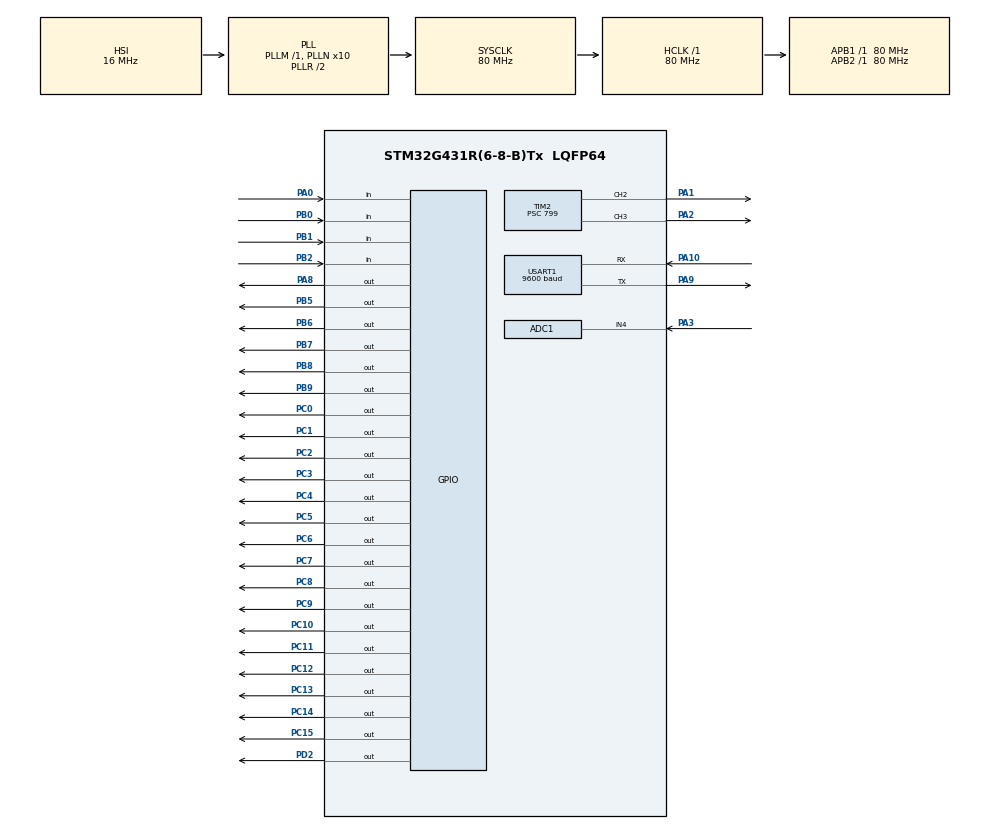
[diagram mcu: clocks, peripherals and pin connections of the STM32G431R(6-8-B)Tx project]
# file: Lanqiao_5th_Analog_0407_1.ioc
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ADC1.Channel-0\#ChannelRegularConversion=ADC_CHANNEL_4
ADC1.ClockPrescaler=ADC_CLOCK_ASYNC_DIV8
ADC1.ContinuousConvMode=DISABLE
ADC1.DMAContinuousRequests=ENABLE
ADC1.ExternalTrigConv=ADC_EXTERNALTRIG_T7_TRGO
ADC1.NbrOfConversion=1
ADC1.NbrOfConversionFlag=1
ADC1.OffsetNumber-0\#ChannelRegularConversion=ADC_OFFSET_NONE
ADC1.Rank-0\#ChannelRegularConversion=1
ADC1.SamplingTime-0\#ChannelRegularConversion=ADC_SAMPLETIME_2CYCLES_5
ADC1.master=1
Dma.ADC1.1.Direction=DMA_PERIPH_TO_MEMORY
Dma.ADC1.1.EventEnable=DISABLE
Dma.ADC1.1.Instance=DMA1_Channel2
Dma.ADC1.1.MemDataAlignment=DMA_MDATAALIGN_WORD
Dma.ADC1.1.MemInc=DMA_MINC_ENABLE
Dma.ADC1.1.Mode=DMA_CIRCULAR
Dma.ADC1.1.PeriphDataAlignment=DMA_PDATAALIGN_WORD
Dma.ADC1.1.PeriphInc=DMA_PINC_DISABLE
Dma.ADC1.1.Polarity=HAL_DMAMUX_REQ_GEN_RISING
Dma.ADC1.1.Priority=DMA_PRIORITY_LOW
Dma.ADC1.1.RequestNumber=1
Dma.ADC1.1.SignalID=NONE
Dma.ADC1.1.SyncEnable=DISABLE
Dma.ADC1.1.SyncPolarity=HAL_DMAMUX_SYNC_NO_EVENT
Dma.ADC1.1.SyncRequestNumber=1
Dma.ADC1.1.SyncSignalID=NONE
Dma.Request0=USART1_RX
Dma.Request1=ADC1
Dma.USART1_RX.0.Direction=DMA_PERIPH_TO_MEMORY
Dma.USART1_RX.0.EventEnable=DISABLE
Dma.USART1_RX.0.Instance=DMA1_Channel1
Dma.USART1_RX.0.MemDataAlignment=DMA_MDATAALIGN_BYTE
Dma.USART1_RX.0.MemInc=DMA_MINC_ENABLE
Dma.USART1_RX.0.Mode=DMA_CIRCULAR
Dma.USART1_RX.0.PeriphDataAlignment=DMA_PDATAALIGN_BYTE
Dma.USART1_RX.0.PeriphInc=DMA_PINC_DISABLE
Dma.USART1_RX.0.Polarity=HAL_DMAMUX_REQ_GEN_RISING
Dma.USART1_RX.0.Priority=DMA_PRIORITY_LOW
Dma.USART1_RX.0.RequestNumber=1
Dma.USART1_RX.0.SignalID=NONE
Dma.USART1_RX.0.SyncEnable=DISABLE
Dma.USART1_RX.0.SyncPolarity=HAL_DMAMUX_SYNC_NO_EVENT
Dma.USART1_RX.0.SyncRequestNumber=1
Dma.USART1_RX.0.SyncSignalID=NONE
Mcu.Family=STM32G4
Mcu.Name=STM32G431R(6-8-B)Tx
Mcu.Package=LQFP64
NVIC.ADC1_2_IRQn=true\:6\:0\:true\:false\:true\:true\:true
NVIC.DMA1_Channel1_IRQn=true\:0\:0\:false\:false\:true\:false\:true
NVIC.DMA1_Channel2_IRQn=true\:0\:0\:false\:false\:true\:false\:true
NVIC.PriorityGroup=NVIC_PRIORITYGROUP_4
NVIC.RTC_Alarm_IRQn=true\:2\:0\:true\:false\:true\:true\:true
NVIC.USART1_IRQn=true\:3\:0\:true\:false\:true\:true\:true
PA0.Signal=GPIO_Input
PA1.Signal=S_TIM2_CH2
PA10.Mode=Asynchronous
PA10.Signal=USART1_RX
PA2.Signal=S_TIM2_CH3
PA3.Mode=IN4-Single-Ended
PA3.Signal=ADC1_IN4
PA8.Signal=GPIO_Output
PA9.Mode=Asynchronous
PA9.Signal=USART1_TX
PB0.Signal=GPIO_Input
PB1.Signal=GPIO_Input
PB2.Signal=GPIO_Input
PB5.Signal=GPIO_Output
PB6.Signal=GPIO_Output
PB7.Signal=GPIO_Output
PB8-BOOT0.Signal=GPIO_Output
PB9.Signal=GPIO_Output
PC0.Signal=GPIO_Output
PC1.Signal=GPIO_Output
PC10.Signal=GPIO_Output
PC11.Signal=GPIO_Output
PC12.Signal=GPIO_Output
PC13.Signal=GPIO_Output
PC14-OSC32_IN.Signal=GPIO_Output
PC15-OSC32_OUT.Signal=GPIO_Output
PC2.Signal=GPIO_Output
PC3.Signal=GPIO_Output
PC4.Signal=GPIO_Output
PC5.Signal=GPIO_Output
PC6.Signal=GPIO_Output
PC7.Signal=GPIO_Output
PC8.Signal=GPIO_Output
PC9.Signal=GPIO_Output
PD2.Signal=GPIO_Output
ProjectManager.HeapSize=0x200
ProjectManager.StackSize=0x400
ProjectManager.TargetToolchain=MDK-ARM V5
RCC.ADC12Freq_Value=80000000
RCC.AHBFreq_Value=80000000
RCC.APB1Freq_Value=80000000
RCC.APB1TimFreq_Value=80000000
RCC.APB2Freq_Value=80000000
RCC.APB2TimFreq_Value=80000000
RCC.CortexFreq_Value=80000000
RCC.EXTERNAL_CLOCK_VALUE=12288000
RCC.HCLKFreq_Value=80000000
RCC.HSE_VALUE=8000000
RCC.HSI48_VALUE=48000000
RCC.HSI_VALUE=16000000
RCC.LSE_VALUE=32768
RCC.PLLN=10
RCC.SYSCLKFreq_VALUE=80000000
RCC.SYSCLKSource=RCC_SYSCLKSOURCE_PLLCLK
RCC.USBFreq_Value=80000000
RCC.VCOOutputFreq_Value=160000000
RTC.Alarm-Alarm\ A=RTC_ALARM_A
RTC.Alarm_B-Alarm\ B=RTC_ALARM_B
RTC.Format=RTC_FORMAT_BIN
RTC.Hours=23
RTC.Minutes=59
RTC.Seconds=50
RTC.SynchPrediv=249
SH.S_TIM2_CH2.0=TIM2_CH2,PWM Generation2 CH2
SH.S_TIM2_CH3.0=TIM2_CH3,PWM Generation3 CH3
TIM2.Channel-PWM\ Generation2\ CH2=TIM_CHANNEL_2
TIM2.Channel-PWM\ Generation3\ CH3=TIM_CHANNEL_3
TIM2.PeriodNoDither=99
TIM2.Prescaler=799
TIM7.PeriodNoDither=99
TIM7.Prescaler=399
TIM7.TIM_MasterOutputTrigger=TIM_TRGO_UPDATE
USART1.BaudRate=9600
USART1.VirtualMode-Asynchronous=VM_ASYNC
VP_RTC_VS_RTC_Activate.Mode=RTC_Enabled
VP_RTC_VS_RTC_Alarm_A_Intern.Mode=Alarm A
VP_RTC_VS_RTC_Alarm_B_Intern.Mode=Alarm B
VP_RTC_VS_RTC_Calendar.Mode=RTC_Calendar
VP_SYS_VS_DBSignals.Mode=DisableDeadBatterySignals
VP_TIM7_VS_ClockSourceINT.Mode=Enable_Timer
board=custom

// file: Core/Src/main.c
/* USER CODE BEGIN Header */
/**
  ******************************************************************************
  * @file           : main.c
  * @brief          : Main program body
  ******************************************************************************
  * @attention
  *
  * <h2><center>&copy; Copyright (c) 2021 STMicroelectronics.
  * All rights reserved.</center></h2>
  *
  * This software component is licensed by ST under BSD 3-Clause license,
  * the "License"; You may not use this file except in compliance with the
  * License. You may obtain a copy of the License at:
  *                        opensource.org/licenses/BSD-3-Clause
  *
  ******************************************************************************
  */
/* USER CODE END Header */
#include "main.h"
#include "adc.h"
#include "dma.h"
#include "rtc.h"
#include "tim.h"
#include "usart.h"
#include "gpio.h"

/* USER CODE BEGIN Includes */
#include "stdio.h"
#include "lcd.h"
#include "string.h"
#include "i2c.h"
/* USER CODE END Includes */

/* USER CODE BEGIN PD */
RTC_TimeTypeDef rtc_time,previousTime,orderTime;
RTC_DateTypeDef rtc_date;
int adc_flag;
/* USER CODE END PD */

/* USER CODE BEGIN PM */
#define print(X) HAL_UART_Transmit(&huart1,(uint8_t *)X,strlen(X),1000);
void x24c02_write(u8 address,u8 data)
{
	I2CStart();
	I2CSendByte(0xa0);
	I2CWaitAck();
	I2CSendByte(address);
	I2CWaitAck();
	I2CSendByte(data);
	I2CWaitAck();
	I2CStop();
}
u8 x24c02_read(u8 address)
{
	I2CStart();
	I2CSendByte(0xa0);
	I2CWaitAck();
	I2CSendByte(address);
	I2CWaitAck();
	I2CStart();
	I2CSendByte(0xa1);
	I2CWaitAck();
	u8 val=I2CReceiveByte();
	I2CStop();
	return val;
}
/* USER CODE END PM */

/* USER CODE BEGIN PV */
char orders[30];
char showPA1[22],showPA2[22],showTime[22],showChan[22],showCom[22],order[30],ttry[30];
uint8_t compare1=80,compare2=80,pa1State=1,pa2State=1,rxbuff,point,orderOut;// 1->PWM,0->lo/w
// orderOut表示当前输出的通道（1或2）,若为0，则表示没有命令。
uint8_t isHigh,continueTime; // 表示命令是否要求当前通道输出PWM波
uint32_t adc_value;

  char s[30];
/* USER CODE END PV */

void SystemClock_Config(void);
/* USER CODE BEGIN PFP */
void keyscan()
{
	if (HAL_GPIO_ReadPin(GPIOB,GPIO_PIN_0)==GPIO_PIN_RESET)
	{
		while (HAL_GPIO_ReadPin(GPIOB,GPIO_PIN_0)==GPIO_PIN_RESET);
		if (pa1State)
		{
			TIM2->CCR2=0;
		}
		else
		{
			TIM2->CCR2=compare1;
		}
		pa1State=!pa1State;
	}
	if (HAL_GPIO_ReadPin(GPIOB,GPIO_PIN_1)==GPIO_PIN_RESET)
	{
		while (HAL_GPIO_ReadPin(GPIOB,GPIO_PIN_1)==GPIO_PIN_RESET);
		compare1+=10;
		if (compare1==110)
			compare1=0;
		TIM2->CCR2=compare1;
		sprintf(showPA1,"  PWM-PA1:%u%%       ",compare1);
		LCD_DisplayStringLine(Line0,(u8 *)showPA1);
		x24c02_write(0x01,compare1);
	}
	if (HAL_GPIO_ReadPin(GPIOB,GPIO_PIN_2)==GPIO_PIN_RESET)
	{
		while (HAL_GPIO_ReadPin(GPIOB,GPIO_PIN_2)==GPIO_PIN_RESET);
		if (pa2State)
		{
			TIM2->CCR3=0;
		}
		else
		{
			TIM2->CCR3=compare1;
		}
		pa2State=!pa2State;
	}
	if (HAL_GPIO_ReadPin(GPIOA,GPIO_PIN_0)==GPIO_PIN_RESET)
	{
		while (HAL_GPIO_ReadPin(GPIOA,GPIO_PIN_0)==GPIO_PIN_RESET);
		compare2+=10;
		if (compare2==110)
			compare2=0;
		TIM2->CCR3=compare2;
		sprintf(showPA2,"  PWM-PA2:%u%%       ",compare2);
		LCD_DisplayStringLine(Line2,(u8 *)showPA2);
		x24c02_write(0x02,compare2);
	}
}
/* USER CODE END PFP */

int main(void)
{

  /* MCU Configuration--------------------------------------------------------*/

  /* Reset of all peripherals, Initializes the Flash interface and the Systick. */
  HAL_Init();

  /* Configure the system clock */
  SystemClock_Config();

  /* Initialize all configured peripherals */
  MX_GPIO_Init();
  MX_DMA_Init();
  MX_RTC_Init();
  MX_TIM2_Init();
  MX_USART1_UART_Init();
  MX_ADC1_Init();
  MX_TIM7_Init();
  /* USER CODE BEGIN 2 */
	LCD_Init();
	LCD_SetBackColor(Black);
	LCD_SetTextColor(White);
	sprintf(showPA1,"  PWM-PA1:%u%%       ",compare1);
	sprintf(showPA2,"  PWM-PA2:%u%%       ",compare2);
	LCD_DisplayStringLine(Line0,(u8 *)showPA1);
	LCD_DisplayStringLine(Line1,(u8 *)"                    ");
	LCD_DisplayStringLine(Line2,(u8 *)showPA2);
	LCD_DisplayStringLine(Line3,(u8 *)"                    ");
	HAL_RTC_GetTime(&hrtc,&rtc_time,RTC_FORMAT_BIN);
	HAL_RTC_GetDate(&hrtc,&rtc_date,RTC_FORMAT_BIN);
	sprintf(showTime,"  Time:%02u:%02u:%02u     ",rtc_time.Hours,rtc_time.Minutes,rtc_time.Seconds);
	previousTime=rtc_time;
	LCD_DisplayStringLine(Line4,(u8 *)showTime);
	LCD_DisplayStringLine(Line5,(u8 *)"                    ");
	HAL_TIM_PWM_Start(&htim2,TIM_CHANNEL_3);
	TIM2->CCR3=compare2;
	LCD_DisplayStringLine(Line6,(u8 *)"  Channel:PA2       ");
	LCD_DisplayStringLine(Line7,(u8 *)"                    ");
	LCD_DisplayStringLine(Line8,(u8 *)"  Command:          ");
	LCD_DisplayStringLine(Line9,(u8 *)"        None        ");
	GPIOC->BSRR=0x0200FD00;
	HAL_GPIO_WritePin(GPIOD,GPIO_PIN_2,GPIO_PIN_SET);
	HAL_GPIO_WritePin(GPIOD,GPIO_PIN_2,GPIO_PIN_RESET);
	HAL_UART_Receive_IT(&huart1,&rxbuff,1);
  /* USER CODE END 2 */

  /* Infinite loop */
  /* USER CODE BEGIN WHILE */
  while (1)
  {
		keyscan();
			//LCD_DisplayStringLine(Line7,(u8 *)s);
		HAL_RTC_GetTime(&hrtc,&rtc_time,RTC_FORMAT_BIN);
		HAL_RTC_GetDate(&hrtc,&rtc_date,RTC_FORMAT_BIN);
		if (previousTime.Seconds!=rtc_time.Seconds)
		{
			sprintf(showTime,"  Time:%02u:%02u:%02u     ",rtc_time.Hours,rtc_time.Minutes,rtc_time.Seconds);
			previousTime=rtc_time;
			LCD_DisplayStringLine(Line4,(u8 *)showTime);
		}
		if (orderOut && rtc_time.Hours==orderTime.Hours && rtc_time.Minutes==orderTime.Minutes
			  && rtc_time.Seconds==orderTime.Seconds)
		{
			if (orderOut==1)
			{
				if (isHigh)
				{
					HAL_TIM_PWM_Start(&htim2,TIM_CHANNEL_2);
					TIM2->CCR2=compare1;
					LCD_DisplayStringLine(Line6,(u8 *)"  Channel:PA1       ");
					GPIOC->BSRR=0x0100FE00;
					HAL_GPIO_WritePin(GPIOD,GPIO_PIN_2,GPIO_PIN_SET);
					HAL_GPIO_WritePin(GPIOD,GPIO_PIN_2,GPIO_PIN_RESET);
					isHigh=0;
				}
				else
				{
					TIM2->CCR2=0;
					orderOut=0;
				}
			}
			if (orderOut==2)
			{
				if (isHigh)
				{
					HAL_TIM_PWM_Start(&htim2,TIM_CHANNEL_3);
					TIM2->CCR3=compare2;
					LCD_DisplayStringLine(Line6,(u8 *)"  Channel:PA2       ");
					GPIOC->BSRR=0x0200FD00;
					HAL_GPIO_WritePin(GPIOD,GPIO_PIN_2,GPIO_PIN_SET);
					HAL_GPIO_WritePin(GPIOD,GPIO_PIN_2,GPIO_PIN_RESET);
					isHigh=0;
				}
				else
				{
					TIM2->CCR3=0;
					orderOut=0;
				}
			}
			orderTime.Seconds+=continueTime;
			if (orderTime.Seconds>=60)
				{
					orderTime.Seconds-=60;
					orderTime.Minutes++;
					if (orderTime.Minutes>=60)
					{
						orderTime.Minutes-=60;
						orderTime.Hours++;
					}
					if (orderTime.Hours==24)
					{
						orderTime.Hours=0;
					}
				}
			continueTime=0;
		}
    /* USER CODE END WHILE */

  }
}

void SystemClock_Config(void)
{
  RCC_OscInitTypeDef RCC_OscInitStruct = {0};
  RCC_ClkInitTypeDef RCC_ClkInitStruct = {0};
  RCC_PeriphCLKInitTypeDef PeriphClkInit = {0};

  /** Configure the main internal regulator output voltage
  */
  HAL_PWREx_ControlVoltageScaling(PWR_REGULATOR_VOLTAGE_SCALE1);
  /** Initializes the RCC Oscillators according to the specified parameters
  * in the RCC_OscInitTypeDef structure.
  */
  RCC_OscInitStruct.OscillatorType = RCC_OSCILLATORTYPE_HSI|RCC_OSCILLATORTYPE_LSI;
  RCC_OscInitStruct.HSIState = RCC_HSI_ON;
  RCC_OscInitStruct.HSICalibrationValue = RCC_HSICALIBRATION_DEFAULT;
  RCC_OscInitStruct.LSIState = RCC_LSI_ON;
  RCC_OscInitStruct.PLL.PLLState = RCC_PLL_ON;
  RCC_OscInitStruct.PLL.PLLSource = RCC_PLLSOURCE_HSI;
  RCC_OscInitStruct.PLL.PLLM = RCC_PLLM_DIV1;
  RCC_OscInitStruct.PLL.PLLN = 10;
  RCC_OscInitStruct.PLL.PLLP = RCC_PLLP_DIV2;
  RCC_OscInitStruct.PLL.PLLQ = RCC_PLLQ_DIV2;
  RCC_OscInitStruct.PLL.PLLR = RCC_PLLR_DIV2;
  if (HAL_RCC_OscConfig(&RCC_OscInitStruct) != HAL_OK)
  {
    Error_Handler();
  }
  /** Initializes the CPU, AHB and APB buses clocks
  */
  RCC_ClkInitStruct.ClockType = RCC_CLOCKTYPE_HCLK|RCC_CLOCKTYPE_SYSCLK
                              |RCC_CLOCKTYPE_PCLK1|RCC_CLOCKTYPE_PCLK2;
  RCC_ClkInitStruct.SYSCLKSource = RCC_SYSCLKSOURCE_PLLCLK;
  RCC_ClkInitStruct.AHBCLKDivider = RCC_SYSCLK_DIV1;
  RCC_ClkInitStruct.APB1CLKDivider = RCC_HCLK_DIV1;
  RCC_ClkInitStruct.APB2CLKDivider = RCC_HCLK_DIV1;

  if (HAL_RCC_ClockConfig(&RCC_ClkInitStruct, FLASH_LATENCY_2) != HAL_OK)
  {
    Error_Handler();
  }
  /** Initializes the peripherals clocks
  */
  PeriphClkInit.PeriphClockSelection = RCC_PERIPHCLK_RTC|RCC_PERIPHCLK_USART1
                              |RCC_PERIPHCLK_ADC12;
  PeriphClkInit.Usart1ClockSelection = RCC_USART1CLKSOURCE_PCLK2;
  PeriphClkInit.Adc12ClockSelection = RCC_ADC12CLKSOURCE_SYSCLK;
  PeriphClkInit.RTCClockSelection = RCC_RTCCLKSOURCE_LSI;

  if (HAL_RCCEx_PeriphCLKConfig(&PeriphClkInit) != HAL_OK)
  {
    Error_Handler();
  }
}

/* USER CODE BEGIN 4 */
void HAL_UART_RxCpltCallback(UART_HandleTypeDef *huart)
{
  if (rxbuff!='S')
	{
		order[point++]=rxbuff;
	}
	else
	{
		order[point++]='\0';
		orderTime.Hours=(order[0]-'0')*10+order[1]-'0';
		orderTime.Minutes=(order[3]-'0')*10+order[4]-'0';
		orderTime.Seconds=(order[6]-'0')*10+order[7]-'0';
		if (order[11]=='1')
		{
			orderOut=1;
		}
		else
		{
			orderOut=2;
		}
		continueTime=order[13]-'0';
		isHigh=1;
		point=0;
		LCD_DisplayStringLine(Line9,(u8 *)order);
	}
	HAL_UART_Receive_IT(&huart1,&rxbuff,1);
}

/* USER CODE END 4 */

void Error_Handler(void)
{
  __disable_irq();
  while (1)
  {
  }
}

/************************ (C) COPYRIGHT STMicroelectronics *****END OF FILE****/
